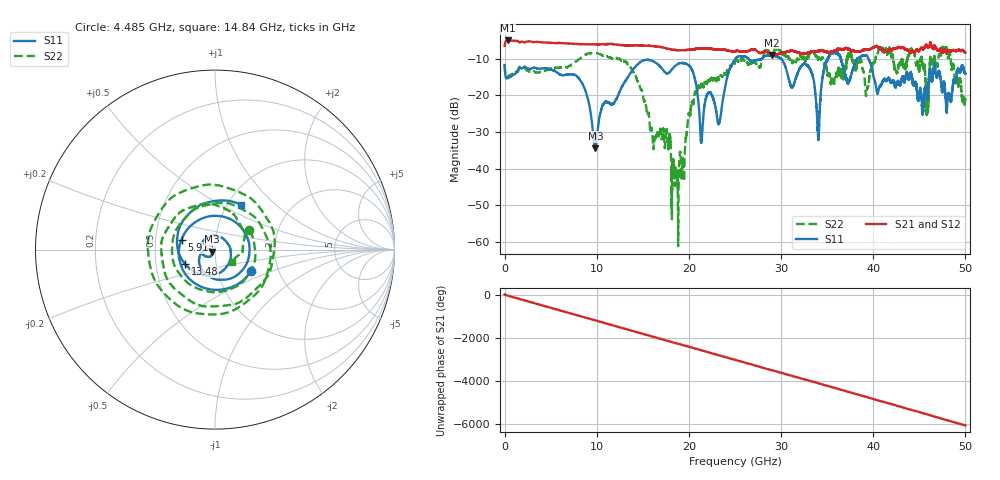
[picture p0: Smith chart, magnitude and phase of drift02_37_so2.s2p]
!Created with skrf (http://scikit-rf.org).
# Hz S RI R 50.0
!freq ReS11 ImS11 ReS21 ImS21 ReS12 ImS12 ReS22 ImS22
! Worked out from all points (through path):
!   10001 points, 300 kHz to 50 GHz, reference 50 ohm
!   highest |S21| = -5.04 dB at 325.3 MHz (marker M1); lowest = -9.0 dB at 29.01 GHz (marker M2)
!   group delay of S21, straight-line fit = 336 ps
!   lowest |S11| = -34.5 dB at 9.85 GHz (marker M3), VSWR 1.04, Z = 48.5 - j1.12 ohm
!   |S11| at or under -10 dB: start of sweep to 25.07 GHz; 29.98 GHz to 35.05 GHz (5.071 GHz wide, 15.6 % of centre); 39.47 GHz to end of sweep (the widest 3 of 7)
!   |S22| runs from -61.2 to -6.5 dB; largest |S21 - S12| = 0.022
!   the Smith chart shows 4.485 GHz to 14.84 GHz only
!   S11 on the Smith chart (normalised r, x): 4.485 GHz: 1.45, -0.36; 5.91 GHz: 0.68, +0.08; 13.48 GHz: 0.71, -0.12; 14.84 GHz: 1.16, +0.63
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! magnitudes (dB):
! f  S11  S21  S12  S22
! 300 kHz  -11.8  -6.5  -6.4  -11.6
! 325.3 MHz  -15.4  -5.0  -5.0  -15.0
! 4.485 GHz  -12.7  -5.6  -5.6  -13.2
! 5.91 GHz  -14.2  -5.8  -5.7  -12.4
! 8.335 GHz  -16.4  -6.0  -6.0  -9.6
! 9.85 GHz  -34.5  -6.1  -6.1  -8.6
! 13.48 GHz  -14.7  -6.4  -6.4  -11.6
! 14.84 GHz  -10.8  -6.4  -6.4  -18.5
! 16.67 GHz  -11.6  -6.7  -6.7  -30.9
! 18.66 GHz  -11.7  -7.7  -7.7  -40.9
! 20.37 GHz  -13.3  -7.5  -7.5  -21.9
! 21.37 GHz  -32.2  -7.2  -7.3  -16.9
! 23.31 GHz  -27.4  -7.5  -7.6  -15.6
! 25 GHz  -10.3  -8.0  -8.0  -11.2
! 29.01 GHz  -9.1  -9.0  -9.0  -8.2
! 33.34 GHz  -13.9  -8.1  -8.2  -8.0
! 34.02 GHz  -31.3  -7.9  -7.9  -10.3
! 35.54 GHz  -8.4  -8.1  -8.1  -15.5
! 41.67 GHz  -15.3  -7.7  -7.7  -7.5
! 45.87 GHz  -20.2  -6.8  -6.9  -24.9
! 47.76 GHz  -17.1  -7.5  -7.5  -7.4
! 50 GHz  -14.1  -8.4  -8.4  -20.7
